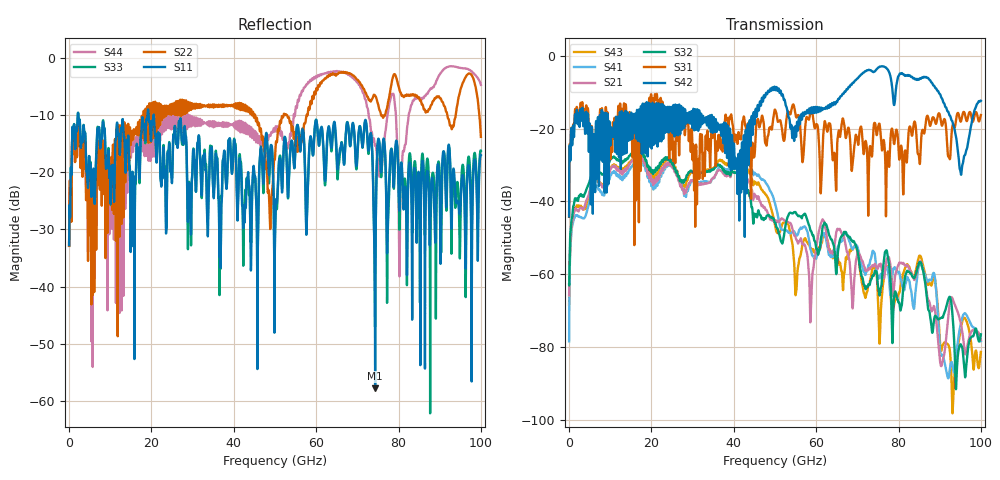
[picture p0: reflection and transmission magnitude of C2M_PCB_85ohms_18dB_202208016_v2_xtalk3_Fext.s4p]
! Info: Touchstone file created by Circ.  Input file=Intel_C2M_200G_6p0in_202208016_staggered.circ
# Hz S RI R 50
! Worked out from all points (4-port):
!   10000 points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, 10 MHz to 100 GHz, reference 50 ohm
!   strongest paths, dB at 10 MHz, 25.01 GHz, 50.01 GHz, 75.01 GHz, 100 GHz:
!     S42: -44.1, -16.4, -8.9, -3.2, -12.3
!     S31: -44.2, -18.8, -14.8, -19.7, -16.2
!     S32: -62.8, -29.7, -45.8, -63.4, -76.5
!     S21: -65.8, -30.3, -45.3, -58.4, -78.1
!     S41: -78.4, -30.2, -40.5, -61.2, -78.4
!     S43: -68.3, -29.4, -46.5, -66.9, -81.4
!   lowest |S11| = -57.8 dB at 74.32 GHz (marker M1), VSWR 1.00, Z = 50.1 + j0.0935 ohm
!   |S11| at or under -10 dB: start of sweep to 2.105 GHz; 2.246 GHz to 19.04 GHz (16.79 GHz wide, 158 % of centre); 20.58 GHz to end of sweep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
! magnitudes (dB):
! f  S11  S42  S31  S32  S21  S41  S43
! 10 MHz  -32.7  -44.1  -44.2  -62.8  -65.8  -78.4  -68.3
! 16.99 GHz  -19.1  -14.9  -32.8  -25.4  -26.8  -27.9  -26.6
! 41.32 GHz  -18.5  -44.6  -22.7  -33.8  -33.2  -30.0  -29.6
! 55.16 GHz  -13.0  -21.7  -16.9  -43.3  -50.5  -49.4  -64.6
! 74.32 GHz  -57.8  -4.1  -18.6  -59.1  -57.2  -55.2  -58.3
! 95.18 GHz  -23.3  -32.7  -18.0  -79.4  -73.9  -73.3  -74.5
! 100 GHz  -16.9  -12.3  -16.2  -76.5  -78.1  -78.4  -81.4
